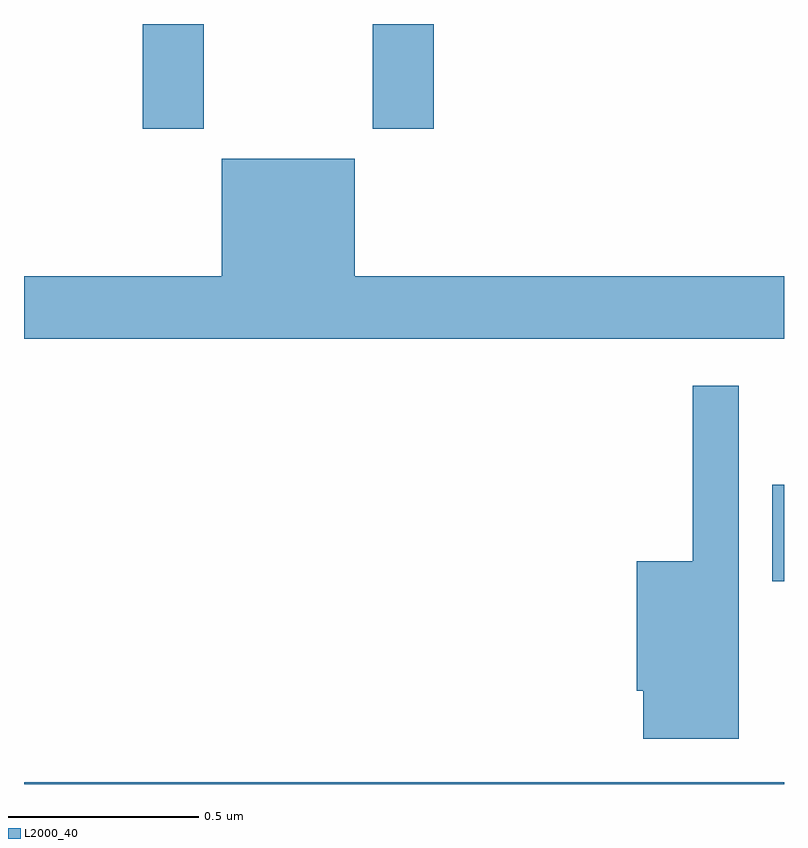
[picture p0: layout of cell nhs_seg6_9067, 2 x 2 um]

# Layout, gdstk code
import gdstk
lib = gdstk.Library(unit=1e-6, precision=1e-09)
def R(c, l, rs):  # rectangles x0, y0, x1, y1
    for r in rs: c.add(gdstk.rectangle(r[:2], r[2:], *l))
def P(c, l, *ps):  # polygons
    for p in ps: c.add(gdstk.Polygon(p, *l))
L2000_40 = (2000, 40)

nhs_seg6_9067 = lib.new_cell('nhs_seg6_9067')
R(nhs_seg6_9067, L2000_40, [(229,943.5,231,943.504), (230.969,944.033,231,944.287), (229.313,945.225,229.473,945.5), (229.918,945.225,230.078,945.5)])
P(nhs_seg6_9067, L2000_40, [(231,944.836),(229.87,944.836),(229.87,945.145),(229.52,945.145),(229.52,944.836),(229,944.836),(229,944.672),(231,944.672)],
  [(230.881,944.548),(230.76,944.548),(230.76,944.086),(230.612,944.086),(230.612,943.746),(230.63,943.746),(230.63,943.619),(230.881,943.619)])

lib.write_gds('nhs_seg6_9067.gds')
